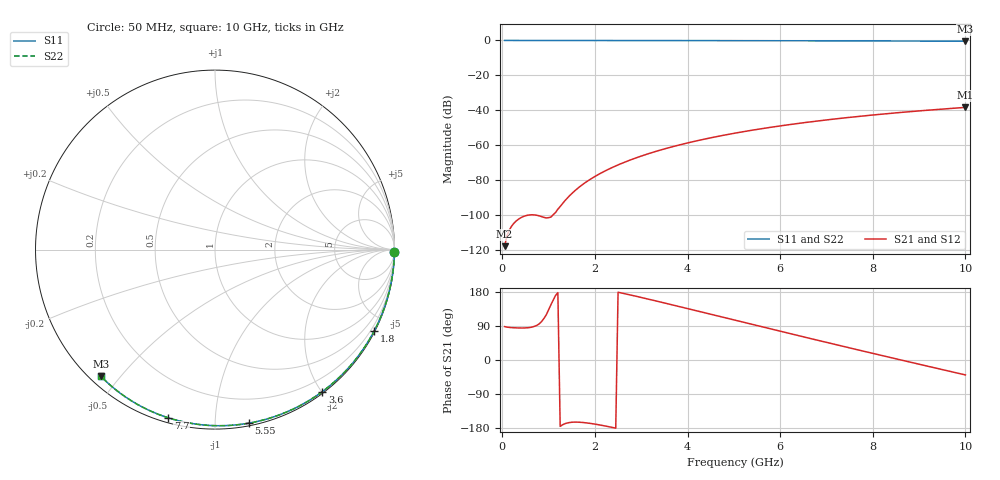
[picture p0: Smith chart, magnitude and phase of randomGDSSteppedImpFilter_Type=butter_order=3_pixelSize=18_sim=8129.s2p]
! freq	dB(S11)	phase(S11)	dB(S12)	phase(S12)
!  dB(S21)	phase(S21)	dB(S22)	phase(S22)
!S-par simulation data
#  GHz  S  DB  R 50
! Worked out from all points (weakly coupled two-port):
!   200 points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, 50 MHz to 10 GHz, reference 50 ohm
!   highest |S21| = -38.38 dB at 10 GHz (marker M1); lowest = -117.9 dB at 50 MHz (marker M2)
!   lowest |S11| = -0.4 dB at 10 GHz (marker M3), VSWR 39.00, Z = 1.54 - j22.2 ohm
!   |S11| at or under -10 dB: nowhere
!   |S22| runs from -0.4 to 0.0 dB; largest |S21 - S12| = 0
!   S11 on the Smith chart (normalised r, x): 50 MHz: open; 1.8 GHz: 0.04, -4.16; 3.6 GHz: 0.02, -2.01; 5.55 GHz: 0.02, -1.21; 7.7 GHz: 0.02, -0.76; 10 GHz: 0.03, -0.44
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0.05  -0.00 -0.8  -117.91 88.1  -117.91 88.1  -0.00 -0.8
0.9  -0.02 -13.7  -101.41 109.8  -101.41 109.8  -0.02 -13.7
1.75  -0.03 -26.3  -82.27 -165.0  -82.27 -165.0  -0.03 -26.3
1.8  -0.03 -27.1  -81.32 -165.7  -81.32 -165.7  -0.03 -27.1
1.85  -0.04 -27.8  -80.43 -166.4  -80.43 -166.4  -0.04 -27.8
1.9  -0.04 -28.5  -79.57 -167.3  -79.57 -167.3  -0.04 -28.5
2.05  -0.04 -30.7  -77.19 -170.2  -77.19 -170.2  -0.04 -30.7
2.25  -0.04 -33.6  -74.38 -174.8  -74.38 -174.8  -0.04 -33.6
2.45  -0.05 -36.6  -71.90 -179.8  -71.90 -179.8  -0.05 -36.6
2.65  -0.05 -39.4  -69.67 174.8  -69.67 174.8  -0.05 -39.4
3  -0.06 -44.4  -66.26 165.0  -66.26 165.0  -0.06 -44.4
3.4  -0.07 -50.1  -62.93 153.5  -62.93 153.5  -0.07 -50.1
3.6  -0.07 -52.9  -61.43 147.6  -61.43 147.6  -0.07 -52.9
4.3  -0.09 -62.5  -56.93 126.8  -56.93 126.8  -0.09 -62.5
5.05  -0.11 -72.5  -53.00 104.3  -53.00 104.3  -0.11 -72.5
5.55  -0.13 -79.0  -50.78 89.4  -50.78 89.4  -0.13 -79.0
6.1  -0.15 -86.0  -48.60 73.0  -48.60 73.0  -0.15 -86.0
6.7  -0.18 -93.4  -46.51 55.3  -46.51 55.3  -0.18 -93.4
7.7  -0.24 -105.5  -43.52 26.1  -43.52 26.1  -0.24 -105.5
8.35  -0.29 -113.1  -41.86 7.4  -41.86 7.4  -0.29 -113.1
9.15  -0.36 -122.3  -40.05 -15.4  -40.05 -15.4  -0.36 -122.3
10  -0.45 -132.0  -38.38 -39.4  -38.38 -39.4  -0.45 -132.0
